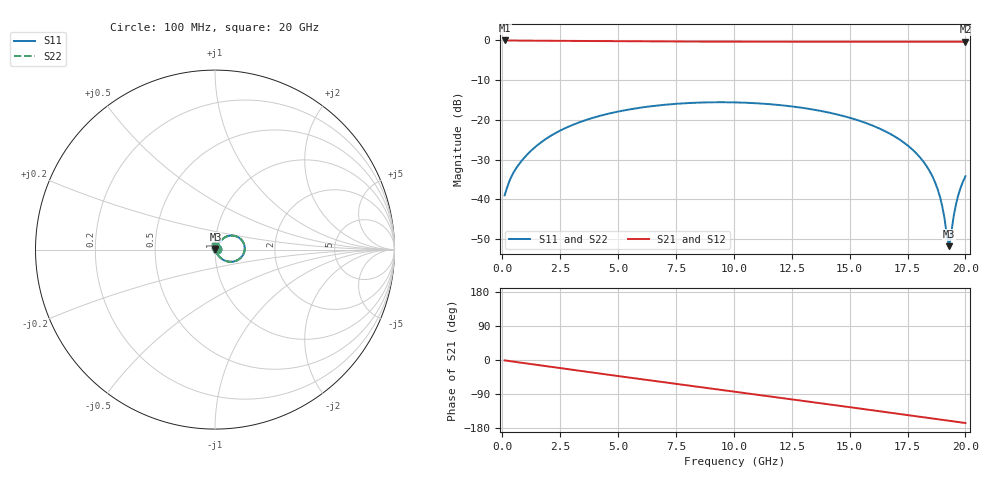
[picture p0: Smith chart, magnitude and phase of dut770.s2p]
! Touchstone file exported from HFSS 2026.1.0
!  File:  C:/ffzhzh/LocalFiles/Ansys_Project_Files/temp_train_TSV_RDL_770_1783208950_51560.aedt
!  Generated:  07:59:15 AM Jul  5, 2026
!  Design:  TSV_RDL
!  Project:  temp_train_TSV_RDL_770_1783208950_51560
! Variables:
!  h_bsmrdl = 3.01um
!  h_ox = 20um
!  h_rdl = 5um
!  h_sub = 64.42um
!  h_tmrdl = 4.81um
!  h_tsv = 64.42um
!  h_via = 3um
!  l_bsmrdl = 520.72um
!  l_sub = 2764.77um
!  l_tmrdl = 165.08um
!  m_sub = 200um
!  pitch = 36.38um
!  r_tsv = 12.73um
!  s_tmrdl = 10um
!  w_bsmrdl = 27.44um
!  w_sub = 500um
!  w_tmrdl = 19.99um
!  x_tsv_center1 = 175.075um
!  x_tsv_center2 = 723.235um
!  x_tsv_center3 = 908.305um
!  x_tsv_center4 = 1456.465um
!  x_tsv_center5 = 1641.535um
!  x_tsv_center6 = 2189.695um
# GHz S MA R 50.000000
! Terminal data exported
! Port[1] = TM_RDL1_1_T1
! Port[2] = TM_RDL5_1_T1
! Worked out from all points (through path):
!   200 points, 100 MHz to 20 GHz, reference 50 ohm
!   highest |S21| = -0.09 dB at 100 MHz (marker M1); lowest = -0.4 dB at 20 GHz (marker M2)
!   group delay of S21, straight-line fit = 22.9 ps
!   lowest |S11| = -51.7 dB at 19.3 GHz (marker M3), VSWR 1.01, Z = 50.2 + j0.0941 ohm
!   |S11| at or under -10 dB: start of sweep to end of sweep
!   |S22| runs from -51.6 to -15.6 dB; largest |S21 - S12| = 2.1e-13
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0.1  0.01124 21.7  0.9896 -0.9  0.9896 -0.9  0.01124 21.7
! Gamma 0 0 0 0
! Port Impedance 50 0 50 0
0.3  0.01679 40.9  0.9878 -2.7  0.9878 -2.7  0.01679 40.9
0.5  0.02213 47.5  0.9863 -4.5  0.9863 -4.5  0.02213 47.5
1.2  0.03976 56.3  0.9836 -10.4  0.9836 -10.4  0.03976 56.3
2.2  0.06558 55.8  0.9805 -18.9  0.9805 -18.9  0.06558 55.8
3.5  0.09676 48.6  0.9755 -29.9  0.9755 -29.9  0.09676 48.6
5  0.1267 38.0  0.9693 -42.4  0.9693 -42.4  0.1267 38.0
6.8  0.152 24.3  0.9626 -57.2  0.9626 -57.2  0.152 24.3
10.1  0.1651 -1.3  0.9555 -84.2  0.9555 -84.2  0.1651 -1.3
13.4  0.1347 -27.1  0.9552 -111.2  0.9552 -111.2  0.1347 -27.1
15.2  0.1019 -41.2  0.9561 -126.1  0.9561 -126.1  0.1019 -41.2
16.7  0.06778 -52.6  0.9563 -138.6  0.9563 -138.6  0.06779 -52.6
17.8  0.03995 -60.1  0.9558 -147.8  0.9558 -147.8  0.03996 -60.0
18.5  0.02147 -62.6  0.9551 -153.7  0.9551 -153.7  0.02148 -62.4
18.9  0.01084 -59.0  0.9546 -157.0  0.9546 -157.0  0.01086 -58.8
19  0.008235 -55.4  0.9544 -157.9  0.9544 -157.9  0.008256 -55.0
19.2  0.003511 -28.2  0.9541 -159.5  0.9541 -159.5  0.003552 -27.7
19.3  0.002588 21.2  0.9539 -160.4  0.9539 -160.4  0.002637 21.0
19.5  0.006313 78.4  0.9535 -162.0  0.9535 -162.0  0.006328 78.0
19.6  0.008869 84.7  0.9533 -162.9  0.9533 -162.9  0.008879 84.4
19.8  0.01417 89.5  0.9529 -164.6  0.9529 -164.6  0.01417 89.3
20  0.01954 90.8  0.9525 -166.2  0.9525 -166.2  0.01954 90.6
